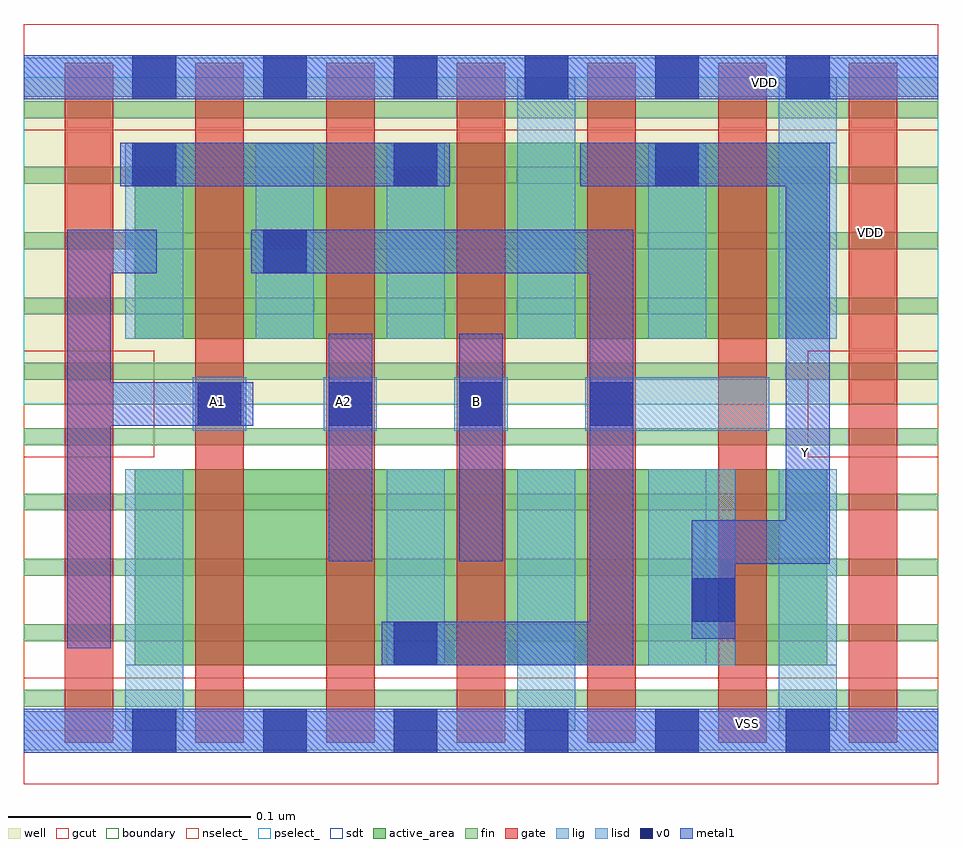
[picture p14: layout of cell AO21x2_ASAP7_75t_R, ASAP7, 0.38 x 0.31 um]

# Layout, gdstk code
import gdstk
lib = gdstk.Library(unit=1e-6, precision=1e-09)
def R(c, l, rs):  # rectangles x0, y0, x1, y1
    for r in rs: c.add(gdstk.rectangle(r[:2], r[2:], *l))
def A(c, l, x, y, w, h, nx, ny, dx, dy):  # array of equal rectangles
    R(c, l, [(x+i*dx, y+j*dy, x+i*dx+w, y+j*dy+h) for i in range(nx) for j in range(ny)])
def P(c, l, *ps):  # polygons
    for p in ps: c.add(gdstk.Polygon(p, *l))
well = (1, 0)
fin = (2, 0)
gate = (7, 0)
gcut = (10, 0)
active_area = (11, 0)
nselect_ = (12, 0)
pselect_ = (13, 0)
lig = (16, 0)
lisd = (17, 0)
v0 = (18, 0)
metal1 = (19, 0)
sdt = (88, 0)
boundary = (100, 0)

ao21x2_asap7_75t_r = lib.new_cell('AO21x2_ASAP7_75t_R')
R(ao21x2_asap7_75t_r, well, [(0,0.135,0.378,0.27)])
A(ao21x2_asap7_75t_r, fin, 0, 0.01, 0.378, 0.007, 1, 10, 0, 0.027)
A(ao21x2_asap7_75t_r, gate, 0.017, -0.005, 0.02, 0.281, 4, 1, 0.054, 0)
A(ao21x2_asap7_75t_r, gate, 0.233, -0.005, 0.02, 0.281, 3, 1, 0.054, 0)
R(ao21x2_asap7_75t_r, gate, [(0.179,-0.005,0.199,0.276), (0.233,-0.005,0.253,0.276)])
R(ao21x2_asap7_75t_r, gcut, [(0,-0.022,0.378,0.022), (0,0.113,0.054,0.157), (0.324,0.113,0.378,0.157), (0,0.248,0.378,0.292)])
R(ao21x2_asap7_75t_r, active_area, [(0.046,0.027,0.332,0.108), (0.046,0.162,0.332,0.243)])
R(ao21x2_asap7_75t_r, nselect_, [(0,0,0.378,0.135)])
R(ao21x2_asap7_75t_r, pselect_, [(0,0.135,0.378,0.27)])
A(ao21x2_asap7_75t_r, lig, 0.07, 0.124, 0.022, 0.022, 3, 1, 0.054, 0)
R(ao21x2_asap7_75t_r, lig, [(0,-0.008,0.378,0.008), (0.232,0.124,0.308,0.146), (0,0.262,0.378,0.278)])
A(ao21x2_asap7_75t_r, lisd, 0.042, 0.162, 0.024, 0.081, 5, 1, 0.054, 0)
R(ao21x2_asap7_75t_r, lisd, [(0.042,0,0.066,0.108), (0.204,0,0.228,0.108), (0.312,0,0.336,0.108), (0.042,0.027,0.066,0.108), (0.15,0.027,0.174,0.108), (0.204,0.027,0.228,0.081), (0.258,0.027,0.294,0.108), (0.312,0.027,0.336,0.108), (0.204,0.162,0.228,0.27), (0.204,0.162,0.228,0.27), (0.312,0.162,0.336,0.27)])
A(ao21x2_asap7_75t_r, v0, 0.045, -0.009, 0.018, 0.018, 3, 2, 0.054, 0.27)
A(ao21x2_asap7_75t_r, v0, 0.207, -0.009, 0.018, 0.018, 3, 2, 0.054, 0.27)
A(ao21x2_asap7_75t_r, v0, 0.072, 0.126, 0.018, 0.018, 4, 1, 0.054, 0)
A(ao21x2_asap7_75t_r, v0, 0.045, 0.225, 0.018, 0.018, 3, 1, 0.108, 0)
R(ao21x2_asap7_75t_r, v0, [(0.153,-0.009,0.171,0.009), (0.207,-0.009,0.225,0.009), (0.153,0.027,0.171,0.045), (0.276,0.045,0.294,0.063), (0.099,0.189,0.117,0.207), (0.153,0.261,0.171,0.279), (0.207,0.261,0.225,0.279)])
R(ao21x2_asap7_75t_r, metal1, [(0,-0.009,0.378,0.009), (0.126,0.07,0.144,0.164), (0.18,0.07,0.198,0.164), (0.04,0.225,0.176,0.243), (0,0.261,0.378,0.279)])
P(ao21x2_asap7_75t_r, metal1, [(0.276,0.038),(0.276,0.087),(0.315,0.087),(0.315,0.225),(0.23,0.225),(0.23,0.243),(0.333,0.243),(0.333,0.069),(0.294,0.069),(0.294,0.038)],
  [(0.148,0.027),(0.148,0.045),(0.234,0.045),(0.234,0.189),(0.094,0.189),(0.094,0.207),(0.252,0.207),(0.252,0.027)],
  [(0.018,0.034),(0.018,0.207),(0.055,0.207),(0.055,0.189),(0.036,0.189),(0.036,0.144),(0.095,0.144),(0.095,0.126),(0.036,0.126),(0.036,0.034)])
A(ao21x2_asap7_75t_r, sdt, 0.15, 0.027, 0.024, 0.081, 4, 1, 0.054, 0)
A(ao21x2_asap7_75t_r, sdt, 0.042, 0.162, 0.024, 0.081, 4, 1, 0.054, 0)
A(ao21x2_asap7_75t_r, sdt, 0.204, 0.162, 0.024, 0.081, 3, 1, 0.054, 0)
R(ao21x2_asap7_75t_r, sdt, [(0.042,0.027,0.066,0.108), (0.204,0.027,0.228,0.081)])
R(ao21x2_asap7_75t_r, boundary, [(0,0,0.378,0.27)])
ao21x2_asap7_75t_r.add(gdstk.Label('A2', (0.132,0.136), layer=19, texttype=251))
ao21x2_asap7_75t_r.add(gdstk.Label('Y', (0.323,0.115), layer=19, texttype=251))
ao21x2_asap7_75t_r.add(gdstk.Label('VDD', (0.306,0.268), layer=19, texttype=251))
ao21x2_asap7_75t_r.add(gdstk.Label('VSS', (0.299,0.003), layer=19, texttype=251))
ao21x2_asap7_75t_r.add(gdstk.Label('B', (0.187,0.136), layer=19, texttype=251))
ao21x2_asap7_75t_r.add(gdstk.Label('A1', (0.08,0.136), layer=19, texttype=251))
ao21x2_asap7_75t_r.add(gdstk.Label('VDD', (0.35,0.206), layer=1, texttype=251))
ao21x2_asap7_75t_r.add(gdstk.Label('VSS', (0.287,-0.04), layer=3, texttype=251))

lib.write_gds('AO21x2_ASAP7_75t_R.gds')
